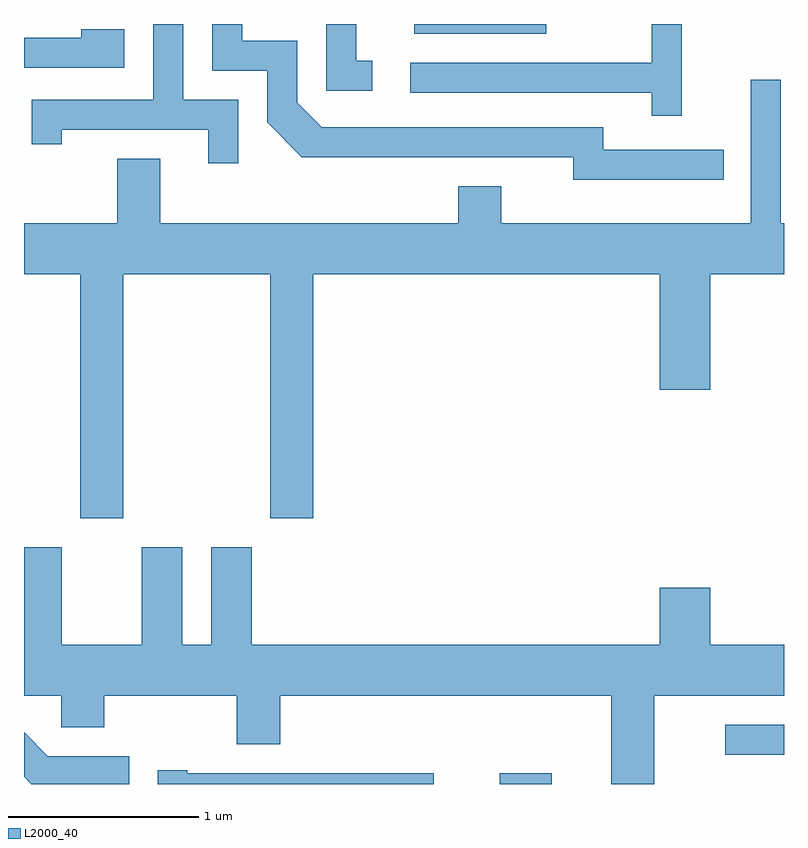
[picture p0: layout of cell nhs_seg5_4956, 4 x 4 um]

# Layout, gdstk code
import gdstk
lib = gdstk.Library(unit=1e-6, precision=1e-09)
def R(c, l, rs):  # rectangles x0, y0, x1, y1
    for r in rs: c.add(gdstk.rectangle(r[:2], r[2:], *l))
def P(c, l, *ps):  # polygons
    for p in ps: c.add(gdstk.Polygon(p, *l))
L2000_40 = (2000, 40)

nhs_seg5_4956 = lib.new_cell('nhs_seg5_4956')
R(nhs_seg5_4956, L2000_40, [(334.116,1494.072,334.388,1494.129), (335.303,1494.226,335.611,1494.384), (333.666,1498.021,334.359,1498.072)])
P(nhs_seg5_4956, L2000_40, [(335.293,1497.409),(334.659,1497.409),(334.659,1497.529),(333.177,1497.529),(333.049,1497.657),(333.049,1497.984),(332.759,1497.984),(332.759,1498.072),(332.601,1498.072),(332.601,1497.826),(332.891,1497.826),(332.891,1497.554),(333.074,1497.371),(334.501,1497.371),(334.501,1497.251),(335.293,1497.251)],
  [(333.443,1497.879),(333.359,1497.879),(333.359,1498.072),(333.201,1498.072),(333.201,1497.721),(333.443,1497.721)],
  [(332.739,1497.674),(332.449,1497.674),(332.449,1498.072),(332.291,1498.072),(332.291,1497.674),(331.651,1497.674),(331.651,1497.438),(331.809,1497.438),(331.809,1497.516),(332.581,1497.516),(332.581,1497.338),(332.739,1497.338)],
  [(335.074,1498.072),(334.916,1498.072),(334.916,1497.869),(333.643,1497.869),(333.643,1497.711),(334.916,1497.711),(334.916,1497.588),(335.074,1497.588)],
  [(332.139,1498.044),(331.911,1498.044),(331.911,1497.999),(331.611,1497.999),(331.611,1497.841),(332.139,1497.841)],
  [(335.436,1497.778),(335.436,1497.024),(334.124,1497.024),(334.124,1497.219),(333.896,1497.219),(333.896,1497.024),(332.329,1497.024),(332.329,1497.364),(332.101,1497.364),(332.101,1497.024),(331.611,1497.024),(331.611,1496.756),(331.906,1496.756),(331.906,1495.471),(332.134,1495.471),(332.134,1496.756),(332.906,1496.756),(332.906,1495.471),(333.134,1495.471),(333.134,1496.756),(334.956,1496.756),(334.956,1496.146),(335.224,1496.146),(335.224,1496.756),(335.611,1496.756),(335.611,1497.024),(335.594,1497.024),(335.594,1497.778)],
  [(334.929,1494.536),(335.611,1494.536),(335.611,1494.804),(335.224,1494.804),(335.224,1495.104),(334.956,1495.104),(334.956,1494.804),(332.809,1494.804),(332.809,1495.319),(332.596,1495.319),(332.596,1494.804),(332.444,1494.804),(332.444,1495.319),(332.231,1495.319),(332.231,1494.804),(331.809,1494.804),(331.809,1495.319),(331.611,1495.319),(331.611,1494.536),(331.806,1494.536),(331.806,1494.371),(332.034,1494.371),(332.034,1494.536),(332.731,1494.536),(332.731,1494.281),(332.959,1494.281),(332.959,1494.536),(334.701,1494.536),(334.701,1494.072),(334.929,1494.072)],
  [(332.164,1494.219),(331.737,1494.219),(331.611,1494.345),(331.611,1494.109),(331.648,1494.072),(332.164,1494.072)],
  [(333.768,1494.129),(332.47,1494.129),(332.47,1494.144),(332.316,1494.144),(332.316,1494.072),(333.768,1494.072)])

lib.write_gds('nhs_seg5_4956.gds')
